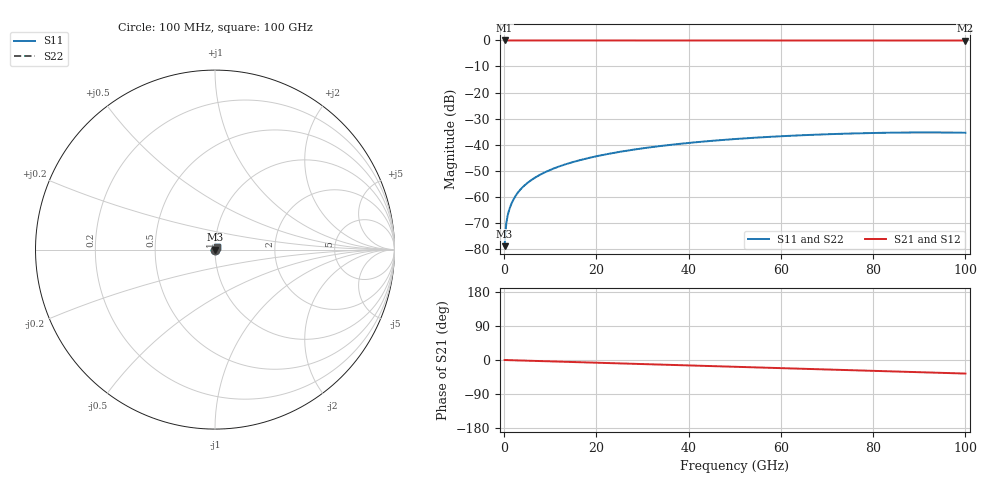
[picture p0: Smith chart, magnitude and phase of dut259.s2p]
! Touchstone file exported from HFSS 2026.1.0
!  File:  C:/ffzhzh/LocalFiles/Ansys_Project_Files/temp_train_TSV_259_1783508467_41296.aedt
!  Generated:  07:02:21 PM Jul  8, 2026
!  Design:  TSV
!  Project:  temp_train_TSV_259_1783508467_41296
! Variables:
!  h_bsmrdl = 2um
!  h_ox = 20um
!  h_rdl = 5um
!  h_sub = 68.84um
!  h_tmrdl = 5um
!  h_tsv = 68.84um
!  h_via = 3um
!  l_bsmrdl = 300um
!  l_sub = 423.28um
!  l_tmrdl = 200um
!  m_sub = 200um
!  pitch = 48.87um
!  r_tsv = 11.64um
!  s_tmrdl = 10um
!  w_bsmrdl = 18um
!  w_sub = 500um
!  w_tmrdl = 12um
!  x_tsv_center1 = 206um
!  x_tsv_center2 = 524um
!  x_tsv_center3 = 736um
!  x_tsv_center4 = 1054um
!  x_tsv_center5 = 1266um
!  x_tsv_center6 = 1584um
# GHz S MA R 50.000000
! Terminal data exported
! Port[1] = TSV1_1_T1
! Port[2] = TSV1_1_T2
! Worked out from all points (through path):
!   1000 points, 100 MHz to 100 GHz, reference 50 ohm
!   highest |S21| = 0.00 dB at 100 MHz (marker M1); lowest = 0.0 dB at 100 GHz (marker M2)
!   group delay of S21, straight-line fit = 992 fs
!   lowest |S11| = -79.0 dB at 100 MHz (marker M3), VSWR 1.00, Z = 50 + j0.00658 ohm
!   |S11| at or under -10 dB: start of sweep to end of sweep
!   |S22| runs from -79.0 to -35.3 dB; largest |S21 - S12| = 2.8e-15
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0.1  0.0001121 36.0  0.9999 -0.0  0.9999 -0.0  0.0001121 36.0
! Gamma 0 0 0 0
! Port Impedance 50 0 50 0
0.4  0.0002728 59.5  0.9999 -0.1  0.9999 -0.1  0.0002728 59.5
0.7  0.0004086 62.2  0.9998 -0.3  0.9998 -0.3  0.0004086 62.2
0.8  0.0004485 62.8  0.9998 -0.3  0.9998 -0.3  0.0004485 62.8
1  0.0005243 64.0  0.9998 -0.4  0.9998 -0.4  0.0005243 64.0
1.3  0.0006327 65.5  0.9997 -0.5  0.9997 -0.5  0.0006327 65.5
1.8  0.0008074 67.5  0.9997 -0.7  0.9997 -0.7  0.0008074 67.5
2.4  0.00101 69.0  0.9997 -0.9  0.9997 -0.9  0.00101 69.1
3.1  0.001237 70.2  0.9996 -1.1  0.9996 -1.1  0.001237 70.2
3.9  0.001488 71.1  0.9996 -1.4  0.9996 -1.4  0.001488 71.1
4.9  0.001791 72.0  0.9995 -1.8  0.9995 -1.8  0.001791 72.0
6.1  0.002146 72.8  0.9994 -2.2  0.9994 -2.2  0.002146 72.8
8.9  0.002956 73.6  0.9993 -3.2  0.9993 -3.2  0.002956 73.6
12.5  0.003967 73.7  0.9992 -4.5  0.9992 -4.5  0.003966 73.7
16.8  0.005127 73.3  0.999 -6.0  0.999 -6.0  0.005127 73.3
24.3  0.007069 72.1  0.9988 -8.7  0.9988 -8.7  0.007069 72.2
33.4  0.009283 70.0  0.9986 -11.9  0.9986 -11.9  0.009282 70.0
41.3  0.01105 67.7  0.9984 -14.7  0.9984 -14.7  0.01105 67.8
50.1  0.0128 65.0  0.9983 -17.9  0.9983 -17.9  0.0128 65.0
66.7  0.01541 59.5  0.998 -23.8  0.998 -23.8  0.01541 59.6
83.4  0.01692 53.7  0.9977 -29.8  0.9977 -29.8  0.01691 53.8
100  0.01688 47.7  0.9973 -35.8  0.9973 -35.8  0.01688 47.8
